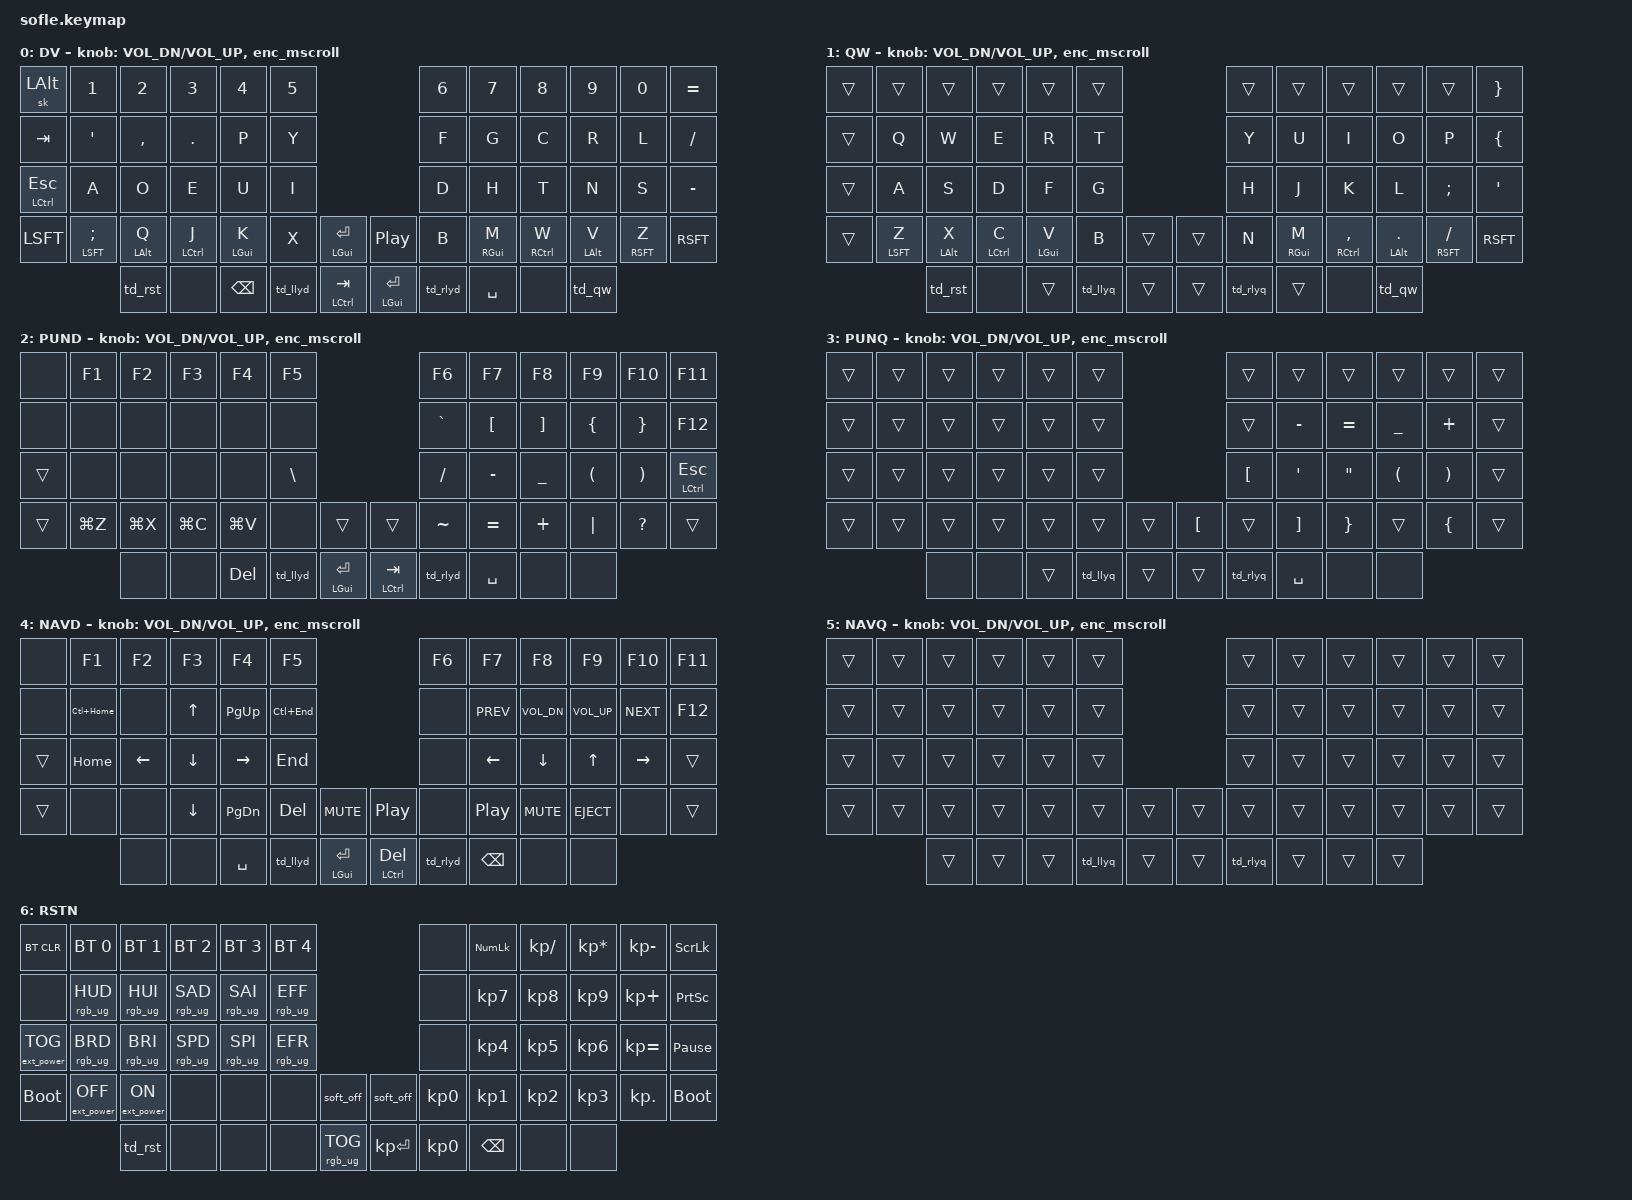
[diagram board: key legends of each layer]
// -*- mode: c++ -*-
/*
 * Copyright (c) 2020 The ZMK Contributors
 *
 * SPDX-License-Identifier: MIT
 */

#include <behaviors.dtsi>
#include <dt-bindings/zmk/keys.h>
#include <dt-bindings/zmk/bt.h>
#include <dt-bindings/zmk/rgb.h>
#include <dt-bindings/zmk/backlight.h>
#include <dt-bindings/zmk/ext_power.h>

// Adding support for urob's zmk-helpers
#include "zmk-helpers/helper.h"
// Source desired key-position labels
#include "zmk-helpers/key-labels/sofle.h"

// Mousee emulation defines
//#define ZMK_POINTING_DEFAULT_MOVE_VAL 1500  // default: 600
// Increased scroll value per https://github.com/zmkfirmware/zmk/issues/72
#define ZMK_POINTING_DEFAULT_SCRL_VAL 150    // default: 10
#include <dt-bindings/zmk/pointing.h>

// Each layer gets a name for readability, which is then used in the keymap
// matrix below. The underscores don't mean anything - you can have a layer
// called STUFF or any other name. Layer names don't all need to be of the
// same length, obviously, and you can also skip them entirely and just use
// numbers.
#define _DVORAK 0
#define _QWERTY 1
#define _PUNCT_DV 2
#define _PUNCT_QW 3
#define _NAV_DV 4
#define _NAV_QW 5
#define _RESET_NUM 6

// Helpful defines
#define XXXXXXX &none
#define _______ &trans

// Layer-related
#define TOG_RST &tog _RESET_NUM
#define TOG_QW &tog _QWERTY
#define SL_NAVD &sl _NAV_DV     // Sticky layer DV Nav layer
#define SL_NAVQ &sl _NAV_QW     // Sticky layer QW Nav layer
#define SL_PUND &sl _PUNCT_DV   // Sticky layer DV Punct layer
#define SL_PUNQ &sl _PUNCT_QW   // Sticky layer DV Punct layer
#define MO_NAVD &mo _NAV_DV     // Momentary DV Nav layer
#define MO_NAVQ &mo _NAV_QW     // Momentary QW Nav layer
#define MO_PUND &sl _PUNCT_DV   // Momentary DV Punct layer
#define MO_PUNQ &sl _PUNCT_QW   // Momentary QW Punct layer
#define TD_RST &td_rst          // Tap dance Reset/Num layer
#define TD_QW &td_qw            // Tap dance Qwerty layer
#define TD_LLYD &td_llyd        // Tap dance Left Hand DV layer
#define TD_RLYD &td_rlyd        // Tap dance Right Hand DV layer
#define TD_LLYQ &td_llyq        // Tap dance Left Hand QW layer
#define TD_RLYQ &td_rlyq        // Tap dance Right Hand QW layer

// Modifier-related
#define CTL_ESC &bhm LCTL ESC
#define GUI_ENT &bhm LGUI ENTER
#define CTL_TAB &bhm LCTL TAB
#define CTL_DEL &bhm LCTL DEL
#define LSFT_SC &bhm LSFT SEMI
#define LALT__Q &bhm LALT Q
#define LCTL__J &bhm LCTL J
#define LGUI__K &bhm LGUI K
#define RGUI__M &bhm RGUI M
#define RCTL__W &bhm RCTL W
#define LALT__V &bhm LALT V
#define RSFT__Z &bhm RSFT Z
#define LSFT__Z &bhm LSFT Z
#define LALT__X &bhm LALT X
#define LCTL__C &bhm LCTL C
#define LGUI__V &bhm LGUI V
#define RGUI__M &bhm RGUI M
#define RCTL_CM &bhm RCTL COMMA
#define LALT_DT &bhm LALT DOT
#define RSFT_SH &bhm RSFT FSLH

// Time (ms) before sticky layer is released
// matches QMK setting
&sl {
    release-after-ms = <1500>;
};

// Change behavior of caps_word to stop on modifier by setting
// ignore-modifiers to false using /delete-property/
// See: https://github.com/zmkfirmware/zmk/issues/1410
&caps_word {
    /delete-property/ ignore-modifiers;
    continue-list = <UNDERSCORE MINUS BACKSPACE DELETE>;
};

/ {
    behaviors {
        bhm: below_homerow_mods {
            compatible = "zmk,behavior-hold-tap";
            label = "BELOW_HOMEROW_MODS";
            #binding-cells = <2>;
            flavor = "tap-preferred";
            tapping-term-ms = <200>;
            quick-tap-ms = <250>;
            bindings = <&kp>, <&kp>;
        };
        td_rst: tap_dance_reset_num_layer {
            // Using tap-dance to require 3 taps to get to _RESET_NUM layer.
            compatible = "zmk,behavior-tap-dance";
            #binding-cells = <0>;
            tapping-term-ms = <500>;
            bindings = <&none>, <&mo _RESET_NUM>, <&tog _RESET_NUM>;
        };
        td_qw: tap_dance_qwerty_layer {
            // Using tap-dance to require 3 taps to get to _QWERTY layer.
            compatible = "zmk,behavior-tap-dance";
            #binding-cells = <0>;
            tapping-term-ms = <500>;
            bindings = <&none>, <&none>, <&tog _QWERTY>;
        };
        td_llyd: tap_dance_left_layer_dv {
            // Using tap-dance to get other layers with same key.
            compatible = "zmk,behavior-tap-dance";
            #binding-cells = <0>;
            tapping-term-ms = <350>;
            bindings = <&sl _NAV_DV>, <&sl _PUNCT_DV>, <&mo _NAV_DV>;
        };
        td_rlyd: tap_dance_right_layer_dv {
            // Using tap-dance to get other layers with same key.
            compatible = "zmk,behavior-tap-dance";
            #binding-cells = <0>;
            tapping-term-ms = <350>;
            bindings = <&sl _PUNCT_DV>, <&sl _NAV_DV>, <&mo _PUNCT_DV>;
        };
        td_llyq: tap_dance_left_layer_qw {
            // Using tap-dance to get other layers with same key.
            compatible = "zmk,behavior-tap-dance";
            #binding-cells = <0>;
            tapping-term-ms = <350>;
            bindings = <&sl _NAV_QW>, <&sl _PUNCT_QW>, <&mo _NAV_QW>;
        };
        td_rlyq: tap_dance_right_layer_qw {
            // Using tap-dance to get other layers with same key.
            compatible = "zmk,behavior-tap-dance";
            #binding-cells = <0>;
            tapping-term-ms = <350>;
            bindings = <&sl _PUNCT_QW>, <&sl _NAV_QW>, <&mo _PUNCT_QW>;
        };
        enc_mscroll: encoder_mouse_scroll {
            // Define mouse scroll for the encoder
            compatible = "zmk,behavior-sensor-rotate";
            #sensor-binding-cells = <0>;
            // added tap-ms per https://github.com/zmkfirmware/zmk/issues/72
            tap-ms = <20>;
            //bindings = <&msc SCRL_DOWN>, <&msc SCRL_UP>;
            // CW is down, CCW is up
            bindings = <&msc SCRL_UP>, <&msc SCRL_DOWN>;
        };
    };

    combos {
        compatible = "zmk,combos";
        caplk: combo_capslock {
            timeout-ms = <150>;
            //key-positions = <36 49>;
            key-positions = <LB5 RB5>; // combo of lshift and rshift for capslock, using key-labels
            bindings = <&kp CAPSLOCK>;
        };
        capwd: combo_capsword {
            timeout-ms = <150>;
            //key-positions = <19 24>;
            //key-positions = <20 23>; // combo of Y and F for caps_word
            //key-positions = <18 25>; // combo of DOT and C for caps_word
            //key-positions = <24 35>; // combo of CTL_ESC and MINUS for caps_word
            key-positions = <LM5 RM5>; // combo of CTL_ESC and MINUS for caps_word, using key-labels
            bindings = <&caps_word>;
        };
    };

    keymap {
        compatible = "zmk,keymap";

        dvorak {
            display-name = "DV";
//
// default, dvorak in keyboard, qwerty in OS
// ,-----------------------------------------.                ,-----------------------------------------.
// | LAlt | 1 !  | 2 @  | 3 #  | 4 $  | 5 %  |                | 6 ^  | 7 &  | 8 *  | 9 (  | 0 )  | = +  |
// |------+------+------+------+------+------|                |------+------+------+------+------+------|
// | Tab  | ' "  | , <  | . >  | p P  | y Y  |                | f F  | g G  | c C  | r R  | l L  | / ?  |
// |------+------+------+------+------+------|                | -----+------+------+------+------+------|
// | C_Esc| a A  | o O  | e E  | u U  | i I  |                | d D  | h H  | t T  | n N  | s S  | - _  |
// |------+------+------+------+------+------+------.  ,------+------+------+------+------+------+------|
// | LShft| ; :  | q Q  | j J  | k K  | x X  | G_Ent|  | Pl/Pa| b B  | m M  | w W  | v V  | z Z  | RShft|
// `-------------+------+------+------+------+------|  |------+------+------+------+------+------+------'
//               |td_rst|      | BkSp |tdllyd| C_Tab|  | G_Ent|tdrlyd| Space|      | td_qw|
//               `----------------------------------'  `----------------------------------'
            bindings = <
// 0      1        2          3        4         5                           6        7          8        9        10       11
// LN5    LN4      LN3        LN2      LN1       LN0                         RN0      RN1        RN2      RN3      RN4      RN5
&sk LALT  &kp N1   &kp N2     &kp N3   &kp N4    &kp N5                      &kp N6   &kp N7     &kp N8   &kp N9   &kp N0   &kp EQUAL
// 12     13       14         15       16        17                          18       19         20       21       22       23
// LT5    LT4      LT3        LT2      LT1       LT0                         RT0      RT1        RT2      RT3      RT4      RT5
&kp TAB   &kp SQT  &kp COMMA  &kp DOT  &kp P     &kp Y                       &kp F    &kp G      &kp C    &kp R    &kp L    &kp FSLH
// 24     25       26         27       28        29                          30       31         32       33       34       35
// LM5    LM4      LM3        LM2      LM1       LM0                         RM0      RM1        RM2      RM3      RM4      RM5
CTL_ESC   &kp A    &kp O      &kp E    &kp U     &kp I                       &kp D    &kp H      &kp T    &kp N    &kp S    &kp MINUS
// 36     37       38         39       40        41       42       43        44       45         46       47       48       49
// LB5    LB4      LB3        LB2      LB1       LB0      LEC      REC       RB0      RB1        RB2      RB3      RB4      RB5
&kp LSFT  LSFT_SC  LALT__Q    LCTL__J  LGUI__K   &kp X    GUI_ENT  &kp C_PP  &kp B    RGUI__M    RCTL__W  LALT__V  RSFT__Z  &kp RSFT
//                 50         51       52        53       54       55        56       57         58       59
//                 LH4        LH3      LH2       LH1      LH0      RH0       RH1      RH2        RH3      RH4
                   TD_RST     XXXXXXX  &kp BKSP  TD_LLYD  CTL_TAB  GUI_ENT   TD_RLYD  &kp SPACE  XXXXXXX  TD_QW
            >;

            //sensor-bindings = <&inc_dec_kp C_VOL_UP C_VOL_DN &inc_dec_kp PG_UP PG_DN>;
            sensor-bindings = <&inc_dec_kp C_VOL_DN C_VOL_UP &enc_mscroll>;
            //sensor-bindings = <&enc_mscroll &enc_mscroll>;
        };
        qwerty {
            display-name = "QW";
//
// qwerty in keyboard, dvorak in OS
// ,-----------------------------------------.                ,-----------------------------------------.
// | LAlt | 1 !  | 2 @  | 3 #  | 4 $  | 5 %  |                | 6 ^  | 7 &  | 8 *  | 9 (  | 0 )  | = +  |
// |------+------+------+------+------+------|                |------+------+------+------+------+------|
// | Tab  | q Q  | w W  | e E  | r R  | t T  |                | y Y  | u U  | i I  | o O  | p P  | [ {  |
// |------+------+------+------+------+------|                | -----+------+------+------+------+------|
// | C_Esc| a A  | s S  | d D  | f F  | g G  |                | h H  | j J  | k K  | l L  | ; :  | ' "  |
// |------+------+------+------+------+------+------.  ,------+------+------+------+------+------+------|
// | LShft| z Z  | x X  | c C  | v V  | b B  | G_Ent|  | Pl/Pa| n N  | m M  | , <  | . >  | / ?  | RShft|
// `-------------+------+------+------+------+------|  |------+------+------+------+------+------+------'
//               |td_rst|      | BkSp |tdllyq| C_Tab|  | G_Ent|tdrlyq| Space|      | td_qw|
//               `----------------------------------'  `----------------------------------'
            bindings = <
_______  _______  _______  _______  _______   _______                    _______  _______  _______  _______  _______   &kp RBRC
_______  &kp Q    &kp W    &kp E    &kp R     &kp T                      &kp Y    &kp U    &kp I    &kp O    &kp P     &kp LBRC
_______  &kp A    &kp S    &kp D    &kp F     &kp G                      &kp H    &kp J    &kp K    &kp L    &kp SEMI  &kp SQT
_______  LSFT__Z  LALT__X  LCTL__C  LGUI__V   &kp B    _______  _______  &kp N    RGUI__M  RCTL_CM  LALT_DT  RSFT_SH   &kp RSFT
                  TD_RST   XXXXXXX  _______   TD_LLYQ  _______  _______  TD_RLYQ  _______  XXXXXXX  TD_QW
            >;

            //sensor-bindings = <&inc_dec_kp C_VOL_UP C_VOL_DN &inc_dec_kp PG_UP PG_DN>;
            sensor-bindings = <&inc_dec_kp C_VOL_DN C_VOL_UP &enc_mscroll>;
        };
        punct_dv {
            display-name = "PUND";
//
// punctpad, dvorak in keyboard, qwerty in OS
// ,-----------------------------------------.                ,-----------------------------------------.
// |      | F1   | F2   | F3   | F4   | F5   |                | F6   | F7   | F8   | F9   | F10  | F11  |
// |------+------+------+------+------+------|                |------+------+------+------+------+------|
// |      |      |      |      |      |      |                | `    | [    | ]    | {    | }    | F12  |
// |------+------+------+------+------+------|                | -----+------+------+------+------+------|
// | C_Esc|      |      |      |      | \    |                | /    | -    | _    | (    | )    | C_Esc|
// |------+------+------+------+------+------+------.  ,------+------+------+------+------+------+------|
// | LShft| Undo | Cut  | Copy | Paste|      | \    |  | /    | ~    | =    | +    | |    | ?    | RShft|
// `-------------+------+------+------+------+------|  |------+------+------+------+------+------+------'
//               |      |      | Del  |tdllyd| G_Ent|  | C_Tab|tdrlyd| Space|      |      |
//               `----------------------------------'  `----------------------------------'
            bindings = <
XXXXXXX  &kp F1     &kp F2     &kp F3     &kp F4     &kp F5                      &kp F6     &kp F7     &kp F8     &kp F9    &kp F10    &kp F11
XXXXXXX  XXXXXXX    XXXXXXX    XXXXXXX    XXXXXXX    XXXXXXX                     &kp GRAVE  &kp LBKT   &kp RBKT   &kp LBRC  &kp RBRC   &kp F12
_______  XXXXXXX    XXXXXXX    XXXXXXX    XXXXXXX    &kp BSLH                    &kp FSLH   &kp MINUS  &kp UNDER  &kp LPAR  &kp RPAR   CTL_ESC
_______  &kp LG(Z)  &kp LG(X)  &kp LG(C)  &kp LG(V)  XXXXXXX   _______  _______  &kp TILDE  &kp EQUAL  &kp PLUS   &kp PIPE  &kp QMARK  _______
                    XXXXXXX    XXXXXXX    &kp DEL    TD_LLYD   GUI_ENT  CTL_TAB  TD_RLYD    &kp SPC    XXXXXXX    XXXXXXX
            >;

            //sensor-bindings = <&inc_dec_kp C_VOL_UP C_VOL_DN &inc_dec_kp PG_UP PG_DN>;
            sensor-bindings = <&inc_dec_kp C_VOL_DN C_VOL_UP &enc_mscroll>;
        };
        punct_qw {
            display-name = "PUNQ";
//
// punctpad, qwerty in keyboard, dvorak in OS
// ,-----------------------------------------.                ,-----------------------------------------.
// |      | F1   | F2   | F3   | F4   | F5   |                | F6   | F7   | F8   | F9   | F10  | F11  |
// |------+------+------+------+------+------|                |------+------+------+------+------+------|
// |      |      |      |      |      |      |                | `    | -    | =    | _    | +    | F12  |
// |------+------+------+------+------+------|                | -----+------+------+------+------+------|
// | C_Esc|      |      |      |      | \    |                | [    | '    | "    | (    | )    | C_Esc|
// |------+------+------+------+------+------+------.  ,------+------+------+------+------+------+------|
// | LShft| Undo | Cut  | Copy | Paste|      | \    |  | [    | ~    | ]    | }    | |    | {    | RShft|
// `-------------+------+------+------+------+------|  |------+------+------+------+------+------+------'
//               |      |      | Del  |tdllyq| G_Ent|  | C_Tab|tdrlyq| Space|      |      |
//               `----------------------------------'  `----------------------------------'
            bindings = <
_______  _______  _______  _______  _______  _______                     _______   _______    _______    _______    _______   _______
_______  _______  _______  _______  _______  _______                     _______   &kp MINUS  &kp EQUAL  &kp UNDER  &kp PLUS  _______
_______  _______  _______  _______  _______  _______                     &kp LBKT  &kp SQT    &kp DQT    &kp LPAR   &kp RPAR  _______
_______  _______  _______  _______  _______  _______  _______  &kp LBKT  _______   &kp RBKT   &kp RBRC   _______    &kp LBRC  _______
                  XXXXXXX  XXXXXXX  _______  TD_LLYQ  _______  _______   TD_RLYQ   &kp SPC    XXXXXXX    XXXXXXX
            >;

            //sensor-bindings = <&inc_dec_kp C_VOL_UP C_VOL_DN &inc_dec_kp PG_UP PG_DN>;
            sensor-bindings = <&inc_dec_kp C_VOL_DN C_VOL_UP &enc_mscroll>;
        };
        nav_dv {
            display-name = "NAVD";
//
// nav, dvorak in keyboard, qwerty in OS
// ,-----------------------------------------.                ,-----------------------------------------.
// |      | F1   | F2   | F3   | F4   | F5   |                | F6   | F7   | F8   | F9   | F10  | F11  |
// |------+------+------+------+------+------|                |------+------+------+------+------+------|
// |      |C(Hom)|      | Up   | PgUp |C(End)|                |      | Prev |Vol Dn|Vol Up| Next | F12  |
// |------+------+------+------+------+------|                | -----+------+------+------+------+------|
// | C_Esc| Home | Left | Down | Right| End  |                |      | Left | Down | Up   | Right| C_Esc|
// |------+------+------+------+------+------+------.  ,------+------+------+------+------+------+------|
// | LShft|      |      | Down | PgDn | Del  | Mute |  | Pl/Pa|      | Pl/Pa| Mute | Eject|      | RShft|
// `-------------+------+------+------+------+------|  |------+------+------+------+------+------+------'
//               |      |      | Space|tdllyd| G_Ent|  | C_Del|tdrlyd| BkSp |      |      |
//               `----------------------------------'  `----------------------------------'
            bindings = <
XXXXXXX  &kp F1        &kp F2    &kp F3    &kp F4     &kp F5                             &kp F6   &kp F7      &kp F8        &kp F9        &kp F10     &kp F11
XXXXXXX  &kp LC(HOME)  XXXXXXX   &kp UP    &kp PG_UP  &kp LC(END)                        XXXXXXX  &kp C_PREV  &kp C_VOL_DN  &kp C_VOL_UP  &kp C_NEXT  &kp F12
_______  &kp HOME      &kp LEFT  &kp DOWN  &kp RIGHT  &kp END                            XXXXXXX  &kp LEFT    &kp DOWN      &kp UP        &kp RIGHT   _______
_______  XXXXXXX       XXXXXXX   &kp DOWN  &kp PG_DN  &kp DEL      &kp C_MUTE  &kp C_PP  XXXXXXX  &kp C_PP    &kp C_MUTE    &kp C_EJECT   XXXXXXX     _______
                       XXXXXXX   XXXXXXX   &kp SPACE  TD_LLYD      GUI_ENT     CTL_DEL   TD_RLYD  &kp BSPC    XXXXXXX       XXXXXXX
           >;

            //sensor-bindings = <&inc_dec_kp C_VOL_UP C_VOL_DN &inc_dec_kp PG_UP PG_DN>;
            sensor-bindings = <&inc_dec_kp C_VOL_DN C_VOL_UP &enc_mscroll>;
        };
        nav_qw {
            display-name = "NAVQ";
//
// nav, qwerty in keyboard, dvorak in OS
// ,-----------------------------------------.                ,-----------------------------------------.
// |      | F1   | F2   | F3   | F4   | F5   |                | F6   | F7   | F8   | F9   | F10  | F11  |
// |------+------+------+------+------+------|                |------+------+------+------+------+------|
// |      |C(Hom)|      | Up   | PgUp |C(End)|                |      | Prev |Vol Dn|Vol Up| Next | F12  |
// |------+------+------+------+------+------|                | -----+------+------+------+------+------|
// | C_Esc| Home | Left | Down | Right| End  |                |      | Left | Down | Up   | Right| C_Esc|
// |------+------+------+------+------+------+------.  ,------+------+------+------+------+------+------|
// | LShft|      |      | Down | PgDn | Del  | Mute |  | Pl/Pa|      | Pl/Pa| Mute | Eject|      | RShft|
// `-------------+------+------+------+------+------|  |------+------+------+------+------+------+------'
//               |      |      | Space|slpunq| G_Ent|  | C_Del|mopunq| BkSp |      |      |
//               `----------------------------------'  `----------------------------------'
            bindings = <
_______  _______  _______  _______  _______  _______                    _______  _______  _______  _______  _______  _______
_______  _______  _______  _______  _______  _______                    _______  _______  _______  _______  _______  _______
_______  _______  _______  _______  _______  _______                    _______  _______  _______  _______  _______  _______
_______  _______  _______  _______  _______  _______  _______  _______  _______  _______  _______  _______  _______  _______
                  _______  _______  _______  TD_LLYQ  _______  _______  TD_RLYQ  _______  _______  _______
           >;

            //sensor-bindings = <&inc_dec_kp C_VOL_UP C_VOL_DN &inc_dec_kp PG_UP PG_DN>;
            sensor-bindings = <&inc_dec_kp C_VOL_DN C_VOL_UP &enc_mscroll>;
        };
        reset_numpad {
            display-name = "RSTN";
//
// reset, and numpad
// ,-----------------------------------------.                ,-----------------------------------------.
// | BtClr| BtSl0| BtSl1| BtSl2| BtSl3| BtSl4|                |      | NmLk | Np / | Np * | Np - | ScrLk|
// |------+------+------+------+------+------|                |------+------+------+------+------+------|
// |      |RgbHud|RgbHui|RgbSad|RgbSai|RgbEff|                |      | Np 7 | Np 8 | Np 9 | Np + |PrtScn|
// |------+------+------+------+------+------|                | -----+------+------+------+------+------|
// |ExtPwr|RgbBrd|RgbBri|RgbSpd|RgbSpi|RgbEfr|                |      | Np 4 | Np 5 | Np 6 | Np = | Pause|
// |------+------+------+------+------+------+------.  ,------+------+------+------+------+------+------|
// | Reset|ExtOff| ExtOn|      |      |      |SftOff|  |SftOff| Np 0 | Np 1 | Np 2 | Np 3 | Np . | Reset|
// `-------------+------+------+------+------+------|  |------+------+------+------+------+------+------'
//               |td_rst|      |      |      |RgbTog|  | NpEnt| Np 0 | Space|      |      |
//               `----------------------------------'  `----------------------------------'
            bindings = <
&bt BT_CLR         &bt BT_SEL 0       &bt BT_SEL 1      &bt BT_SEL 2     &bt BT_SEL 3     &bt BT_SEL 4                                    XXXXXXX    &kp KP_NLCK  &kp KP_SLASH  &kp KP_ASTERISK  &kp KP_MINUS  &kp SLCK
XXXXXXX            &rgb_ug RGB_HUD    &rgb_ug RGB_HUI   &rgb_ug RGB_SAD  &rgb_ug RGB_SAI  &rgb_ug RGB_EFF                                 XXXXXXX    &kp KP_N7    &kp KP_N8     &kp KP_N9        &kp KP_PLUS   &kp PSCRN
&ext_power EP_TOG  &rgb_ug RGB_BRD    &rgb_ug RGB_BRI   &rgb_ug RGB_SPD  &rgb_ug RGB_SPI  &rgb_ug RGB_EFR                                 XXXXXXX    &kp KP_N4    &kp KP_N5     &kp KP_N6        &kp KP_EQUAL  &kp PAUSE_BREAK
&bootloader        &ext_power EP_OFF  &ext_power EP_ON  XXXXXXX          XXXXXXX          XXXXXXX          &soft_off        &soft_off     &kp KP_N0  &kp KP_N1    &kp KP_N2     &kp KP_N3        &kp KP_DOT    &bootloader
                                      TD_RST            XXXXXXX          XXXXXXX          XXXXXXX          &rgb_ug RGB_TOG  &kp KP_ENTER  &kp KP_N0  &kp BSPC     XXXXXXX       XXXXXXX
            >;
        };
/* default sofle keymap

        default_layer {
            display-name = "default";
// ------------------------------------------------------------------------------------------------------------
// |   `   |  1  |  2  |  3   |  4   |  5   |                   |  6   |  7    |  8    |  9   |   0   |       |
// |  ESC  |  Q  |  W  |  E   |  R   |  T   |                   |  Y   |  U    |  I    |  O   |   P   | BKSPC |
// |  TAB  |  A  |  S  |  D   |  F   |  G   |                   |  H   |  J    |  K    |  L   |   ;   |   '   |
// | SHIFT |  Z  |  X  |  C   |  V   |  B   |  MUTE  |  |       |  N   |  M    |  ,    |  .   |   /   | SHIFT |
//               | GUI | ALT  | CTRL | LOWER|  ENTER |  | SPACE | RAISE| CTRL  | ALT   | GUI  |
            bindings = <
&kp GRAVE &kp N1 &kp N2   &kp N3   &kp N4    &kp N5                           &kp N6 &kp N7    &kp N8    &kp N9   &kp N0   &none
&kp ESC   &kp Q  &kp W    &kp E    &kp R     &kp T                            &kp Y  &kp U     &kp I     &kp O    &kp P    &kp BSPC
&kp TAB   &kp A  &kp S    &kp D    &kp F     &kp G                            &kp H  &kp J     &kp K     &kp L    &kp SEMI &kp SQT
&kp LSHFT &kp Z  &kp X    &kp C    &kp V     &kp B      &kp C_MUTE &none      &kp N  &kp M     &kp COMMA &kp DOT  &kp FSLH &kp RSHFT
                 &kp LGUI &kp LALT &kp LCTRL &mo LOWER  &kp RET    &kp SPACE  &mo RAISE  &kp RCTRL &kp RALT  &kp RGUI
            >;

            sensor-bindings = <&inc_dec_kp C_VOL_UP C_VOL_DN &inc_dec_kp PG_UP PG_DN>;
        };

        lower_layer {
            display-name = "lower";
// TODO: Some binds are waiting for shifted keycode support.
// ------------------------------------------------------------------------------------------------------------
// |       |  F1 |  F2 |  F3  |  F4  |  F5  |                   |  F6  |  F7   |  F8   |  F9  |  F10  |  F11  |
// |   `   |  1  |  2  |  3   |  4   |  5   |                   |  6   |  7    |  8    |  9   |   0   |  F12  |
// |       |  !  |  @  |  #   |  $   |  %   |                   |  ^   |  &    |  *    |  (   |   )   |   |   |
// |       |  =  |  -  |  +   |  {   |  }   |        |  |       |  [   |  ]    |  ;    |  :   |   \   |       |
//               |     |      |      |      |        |  |       |      |       |       |      |
            bindings = <
&trans    &kp F1    &kp F2    &kp F3      &kp F4    &kp F5                    &kp F6    &kp F7   &kp F8    &kp F9    &kp F10   &kp F11
&kp GRAVE &kp N1    &kp N2    &kp N3      &kp N4    &kp N5                    &kp N6    &kp N7   &kp N8    &kp N9    &kp N0    &kp F12
&trans    &kp EXCL  &kp AT    &kp HASH    &kp DLLR  &kp PRCNT                 &kp CARET &kp AMPS &kp ASTRK &kp LPAR  &kp RPAR  &kp PIPE
&trans    &kp EQUAL &kp MINUS &kp PLUS &kp LBRC  &kp RBRC   &trans &trans  &kp LBKT  &kp RBKT &kp SEMI  &kp COLON &kp BSLH  &trans
                    &trans    &trans      &trans    &trans     &trans &trans  &trans    &trans   &trans    &trans
            >;

            sensor-bindings = <&inc_dec_kp C_VOL_UP C_VOL_DN &inc_dec_kp PG_UP PG_DN>;
        };

        raise_layer {
            display-name = "raise";
// ------------------------------------------------------------------------------------------------------------
// | BTCLR | BT1  | BT2  |  BT3  |  BT4  |  BT5 |                |      |      |       |      |       |       |
// |       | INS  | PSCR | GUI   |       |      |                | PGUP |      |   ^   |      |       |       |
// |       | ALT  | CTRL | SHIFT |       | CAPS |                | PGDN |   <- |   v   |  ->  |  DEL  | BKSPC |
// |       | UNDO | CUT  | COPY  | PASTE |      |      |  |      |      |      |       |      |       |       |
//                |      |       |       |      |      |  |      |      |      |       |      |
            bindings = <
&bt BT_CLR &bt BT_SEL 0 &bt BT_SEL 1 &bt BT_SEL 2 &bt BT_SEL 3 &bt BT_SEL 4                  &trans    &trans    &trans   &trans    &trans  &trans
&trans     &kp INS      &kp PSCRN    &kp K_CMENU  &trans       &trans                        &kp PG_UP &trans    &kp UP   &trans    &kp N0  &trans
&trans     &kp LALT     &kp LCTRL    &kp LSHFT    &trans       &kp CLCK                      &kp PG_DN &kp LEFT  &kp DOWN &kp RIGHT &kp DEL &kp BSPC
&trans     &kp K_UNDO   &kp K_CUT    &kp K_COPY   &kp K_PASTE  &trans        &trans  &trans  &trans    &trans    &trans   &trans    &trans  &trans
                        &trans       &trans       &trans       &trans        &trans  &trans  &trans    &trans    &trans   &trans
            >;

            sensor-bindings = <&inc_dec_kp C_VOL_UP C_VOL_DN &inc_dec_kp PG_UP PG_DN>;
        };

        adjust_layer {
// ----------------------------------------------------------------------------------------------------------------------------
// | BTCLR  |  BT1    |  BT2    |   BT3   |   BT4   |   BT5   |                  |      |      |       |      |       |       |
// | EXTPWR | RGB_HUD | RGB_HUI | RGB_SAD | RGB_SAI | RGB_EFF |                  |      |      |       |      |       |       |
// |        | RGB_BRD | RGB_BRI |         |         |         |                  |      |      |       |      |       |       |
// |        |         |         |         |         |         | RGB_TOG | |      |      |      |       |      |       |       |
//                    |         |         |         |         |         | |      |      |      |       |      |
            display-name = "adjust";
            bindings = <
&bt BT_CLR        &bt BT_SEL 0    &bt BT_SEL 1    &bt BT_SEL 2    &bt BT_SEL 3    &bt BT_SEL 4                            &none &none &none &none &none &none
&ext_power EP_TOG &rgb_ug RGB_HUD &rgb_ug RGB_HUI &rgb_ug RGB_SAD &rgb_ug RGB_SAI &rgb_ug RGB_EFF                         &none &none &none &none &none &none
&none             &rgb_ug RGB_BRD &rgb_ug RGB_BRI &none           &none           &none                                   &none &none &none &none &none &none
&none             &none           &none           &none           &none           &none            &rgb_ug RGB_TOG &none  &none &none &none &none &none &none
                                  &none           &none           &none           &none            &none           &none  &none &none &none &none
            >;
        };
*/

    };
};
